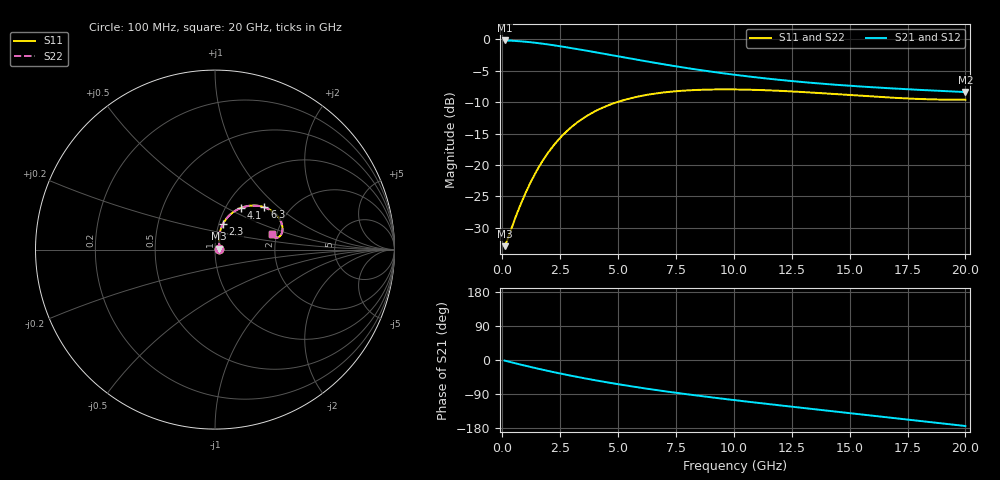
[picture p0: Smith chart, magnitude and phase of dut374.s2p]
! Touchstone file exported from HFSS 2024.1.0
!  File:  C:/UserFiles/LocalFiles/RDL_TSV_Batchsim/temp_RDL_TSV_374_1779643597.aedt
!  Generated:  01:40:29 AM May 25, 2026
!  Design:  RDL_TSV
!  Project:  temp_RDL_TSV_374_1779643597
!  Setup:  Setup1
!  Solution:  Sweep
! Variables:
!  dtsv = 9.55um
!  hbump = 3um
!  htsv = 54.32um
!  ldown = 344.45um
!  lrdl = 393.08um
!  p = 40
!  p1 = 53.25um
!  rhole = 10um
!  subl = 2605.67um
!  t = 450um
!  tdown = 2.45um
!  trdl = 3.51um
!  viad = 10um
!  wdown = 10.47um
!  wrdl = 20.84um
!  xbump = 18um
# GHz S MA R 50.000000
! Terminal data exported
! Port[1] = TM1_1_T1
! Port[2] = TM1_4_T1
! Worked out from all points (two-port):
!   200 points, 100 MHz to 20 GHz, reference 50 ohm
!   highest |S21| = -0.19 dB at 100 MHz (marker M1); lowest = -8.4 dB at 20 GHz (marker M2)
!   |S21| within 3 dB of the highest: start of sweep to 5.725 GHz
!   lowest |S11| = -32.9 dB at 100 MHz (marker M3), VSWR 1.05, Z = 52.2 + j0.592 ohm
!   |S11| at or under -10 dB: start of sweep to 4.963 GHz
!   |S22| runs from -32.9 to -8.0 dB; largest |S21 - S12| = 1.5e-14
!   S11 on the Smith chart (normalised r, x): 100 MHz: 1.04, +0.01; 2.3 GHz: 1.05, +0.31; 4.1 GHz: 1.18, +0.59; 6.3 GHz: 1.50, +0.81; 20 GHz: 1.89, +0.37
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0.1  0.02261 14.5  0.9779 -1.6  0.9779 -1.6  0.02261 14.5
! Gamma 0 0 0 0
! Port Impedance 50 0 50 0
0.2  0.02485 26.8  0.9768 -3.1  0.9768 -3.1  0.02485 26.8
0.7  0.04418 58.6  0.9659 -10.8  0.9659 -10.8  0.04418 58.6
1.2  0.07136 70.6  0.9476 -18.1  0.9476 -18.1  0.07136 70.6
1.7  0.1048 74.1  0.9238 -25.1  0.9238 -25.1  0.1048 74.1
2  0.1268 74.0  0.9078 -29.2  0.9078 -29.2  0.1267 73.9
2.3  0.1493 72.8  0.8909 -33.1  0.8909 -33.1  0.1492 72.8
2.9  0.194 68.7  0.8556 -40.6  0.8556 -40.6  0.1939 68.7
3.5  0.2357 63.6  0.8194 -47.7  0.8194 -47.7  0.2356 63.6
4.1  0.2727 58.3  0.7835 -54.4  0.7835 -54.4  0.2726 58.3
5.1  0.3222 49.7  0.7259 -64.8  0.7259 -64.8  0.322 49.6
6.3  0.3625 40.5  0.6632 -76.2  0.6632 -76.2  0.3624 40.5
6.8  0.3741 37.2  0.6395 -80.6  0.6395 -80.6  0.374 37.2
7.6  0.3874 32.3  0.6048 -87.3  0.6048 -87.3  0.3872 32.3
8.4  0.3952 28.1  0.5739 -93.7  0.5739 -93.7  0.395 28.1
10.1  0.3986 20.8  0.5197 -106.5  0.5197 -106.5  0.3985 20.8
11.7  0.3909 15.9  0.4808 -117.7  0.4808 -117.7  0.3908 15.9
13.4  0.3763 12.6  0.4493 -129.3  0.4493 -129.3  0.3761 12.5
15  0.3601 11.1  0.4266 -140.1  0.4266 -140.1  0.3599 11.0
16.7  0.344 11.2  0.4077 -151.6  0.4077 -151.6  0.3439 11.1
18.4  0.333 12.9  0.3924 -163.2  0.3924 -163.2  0.3329 12.8
20  0.3302 15.5  0.3801 -174.2  0.3801 -174.2  0.33 15.4
